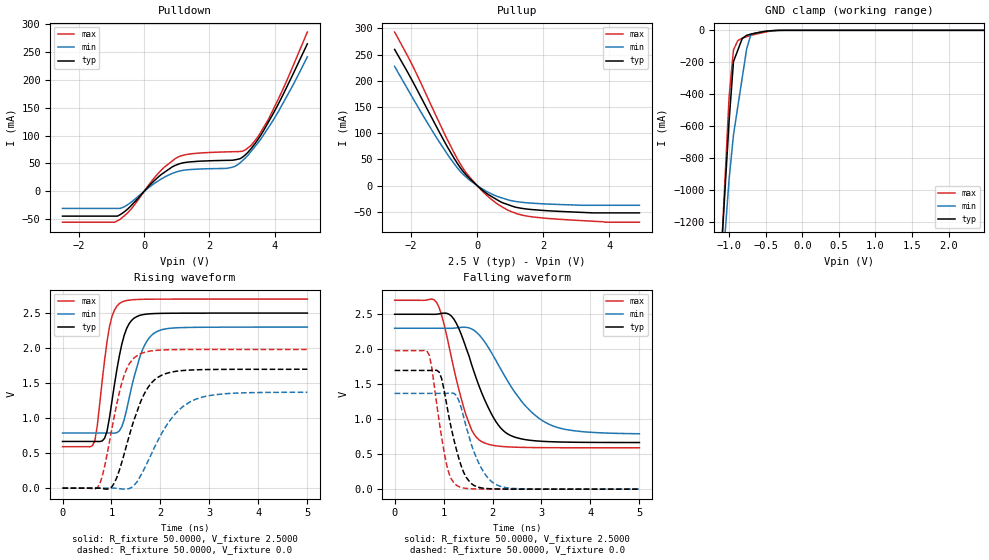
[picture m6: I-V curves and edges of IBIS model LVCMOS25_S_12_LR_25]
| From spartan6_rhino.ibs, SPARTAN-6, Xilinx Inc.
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|   Model LVCMOS25_S_12_LR_25
[Model]  LVCMOS25_S_12_LR_25
Model_type I/O
Polarity   Non-Inverting
Enable   Active-Low
Vinl =   0.7000V
Vinh =   1.7000V
Vmeas =  1.2500V
Cref =   0.0F
Rref =   1.0000M
Vref =   0.0V
C_comp   6.08pF   5.79pF   6.38pF
|C_comp  6.55pF   6.18pF   6.90pF
[Temperature Range]   25.0000   85.0000   0.0
[Voltage Range]   2.5000V   2.3000V   2.7000V
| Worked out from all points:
|   slope of the pulldown table from 0 to 0.375 V, typ, clamps not added: 16.6 ohm
|   slope of the pullup table from 0 to 0.375 V, typ, clamps not added: 20.1 ohm
|   GND clamp passes 1 mA (typ) near -0.36 V on its own axis
|   rising waveform, R_fixture 50.0000, V_fixture 2.5000: 20-80 % time 276ps typ, 349ps min, 223ps max; typ from 0.666 V to 2.5 V
|   rising waveform, R_fixture 50.0000, V_fixture 0.0: 20-80 % time 481ps typ, 680ps min, 362ps max; typ from 0 V to 1.7 V
|   falling waveform, R_fixture 50.0000, V_fixture 2.5000: 20-80 % time 609ps typ, 873ps min, 446ps max; typ from 2.5 V to 0.667 V
|   falling waveform, R_fixture 50.0000, V_fixture 0.0: 20-80 % time 331ps typ, 407ps min, 259ps max; typ from 1.7 V to 0 V
[Pulldown]
|Voltage   I(typ)   I(min)   I(max)
-2.5V     -44.43mA   -30.59mA   -55.28mA
-900mV    -44.43mA   -30.59mA   -55.28mA
-580mV    -35.44mA   -26.77mA   -42.61mA
380mV     22.86mA    16.77mA    28.9mA
1.02V     48.11mA    35.39mA    60.97mA
1.5V      53.18mA    39.34mA    67.65mA
2.7V      55.72mA    43.23mA    71mA
2.94V     58.51mA    51.08mA    71.41mA
3.26V     75.35mA    70.41mA    81.48mA
3.82V     125.5mA    115.4mA    130.4mA
4.3V      178.5mA    162.8mA    189.2mA
5V        264.3mA    241mA      285.4mA
[Pullup]
|Voltage   I(typ)   I(min)   I(max)
-2.5V     259.9mA    227.5mA    293mA
-1.96V    199.6mA    168.3mA    229.6mA
-1.24V    113.4mA    92.34mA    132.5mA
-600mV    42.51mA    33.89mA    50.98mA
-360mV    22.15mA    17.82mA    26.54mA
-200mV    11.78mA    9.057mA    14.22mA
200mV     -10.68mA   -8.05mA    -13.2mA
520mV     -24mA      -18.43mA   -30.67mA
1V        -37.92mA   -28.41mA   -48.92mA
1.64V     -45.78mA   -33.58mA   -59.59mA
3.88V     -52.2mA    -37.7mA    -70mA
4.92V     -52.2mA    -37.7mA    -70mA
[GND_clamp]
|Voltage   I(typ)   I(min)   I(max)
-2.5V     -12.25A    -10.32A    -14.42A
-1.12V    -1.496A    -1.678A    -1.527A
-1.06V    -1.031A    -1.304A    -970.6mA
-1V       -567.8mA   -930.3mA   -416.8mA
-940mV    -195.1mA   -653.7mA   -122.6mA
-880mV    -123mA     -474.4mA   -63.59mA
-820mV    -50.86mA   -295.1mA   -49.17mA
-760mV    -31.12mA   -115.9mA   -39.69mA
-700mV    -23.47mA   -23.51mA   -31.16mA
-460mV    -3.911mA   -3.393mA   -6.645mA
-220mV    -13.59uA   -39.05uA   -47.32uA
2.48V     23.94nA    255.7nA    32.91nA
[POWER_clamp]
|Voltage   I(typ)   I(min)   I(max)
-2.49V    0A         0A         0A
-2.46V    0A         0A         0A
-2.43V    0A         0A         0A
0V        0A         0A         0A
[Ramp]
| variable   typ   min   max
dV/dt_r  1.0182/0.4791n   0.8208/0.6788n   1.1880/0.3594n
dV/dt_f  1.1000/0.6076n   0.9047/0.8725n   1.2650/0.4417n
R_load = 50.0000
[Rising Waveform]
R_fixture= 50.0000
V_fixture= 2.5000
V_fixture_min= 2.3000
V_fixture_max= 2.7000
|time   V(typ)   V(min)   V(max)
0s        666.2mV    786.8mV    591.5mV
660ps     666.2mV    786.7mV    675.6mV
860ps     712mV      786.7mV    1.832V
960ps     1.009V     786.6mV    2.308V
1.06ns    1.476V     784.2mV    2.541V
1.21ns    2.052V     875.9mV    2.656V
1.36ns    2.347V     1.282V     2.684V
1.62ns    2.474V     1.951V     2.695V
1.92ns    2.493V     2.232V     2.698V
5ns       2.499V     2.299V     2.699V
[Rising Waveform]
R_fixture= 50.0000
V_fixture= 0.0
|time   V(typ)   V(min)   V(max)
0s        0V         582.8nV    0V
760ps     -586.3uV   -4.371uV   60.49mV
1.01ns    20.98mV    546.9uV    854.3mV
1.21ns    367.1mV    -11.81mV   1.501V
1.36ns    742.6mV    -7.487mV   1.771V
1.57ns    1.19V      145.9mV    1.911V
1.92ns    1.568V     641.2mV    1.967V
2.27ns    1.663V     1.034V     1.977V
2.63ns    1.686V     1.24V      1.979V
5ns       1.697V     1.368V     1.98V
[Falling Waveform]
R_fixture= 50.0000
V_fixture= 2.5000
V_fixture_min= 2.3000
V_fixture_max= 2.7000
|time   V(typ)   V(min)   V(max)
0s        2.5V       2.3V       2.7V
860ps     2.5V       2.3V       2.667V
1.01ns    2.517V     2.3V       2.357V
1.26ns    2.372V     2.305V     1.572V
1.57ns    1.786V     2.291V     851.6mV
1.77ns    1.392V     2.17V      683.4mV
2.27ns    808mV      1.592V     606.3mV
3.03ns    683.5mV    974.8mV    593.5mV
3.64ns    671mV      837.6mV    592mV
5ns       666.6mV    792.2mV    591.6mV
[Falling Waveform]
R_fixture= 50.0000
V_fixture= 0.0
|time   V(typ)   V(min)   V(max)
0s        1.697V     1.369V     1.98V
710ps     1.697V     1.369V     1.911V
910ps     1.673V     1.369V     968.6mV
1.06ns    1.225V     1.369V     356.1mV
1.16ns    862.8mV    1.374V     143.4mV
1.31ns    444.2mV    1.27V      36.72mV
1.46ns    171.7mV    895.8mV    11.15mV
1.67ns    37.3mV     448.7mV    3.168mV
2.07ns    3.543mV    67.14mV    862.5uV
5ns       73.6uV     213.1uV    66.96uV
